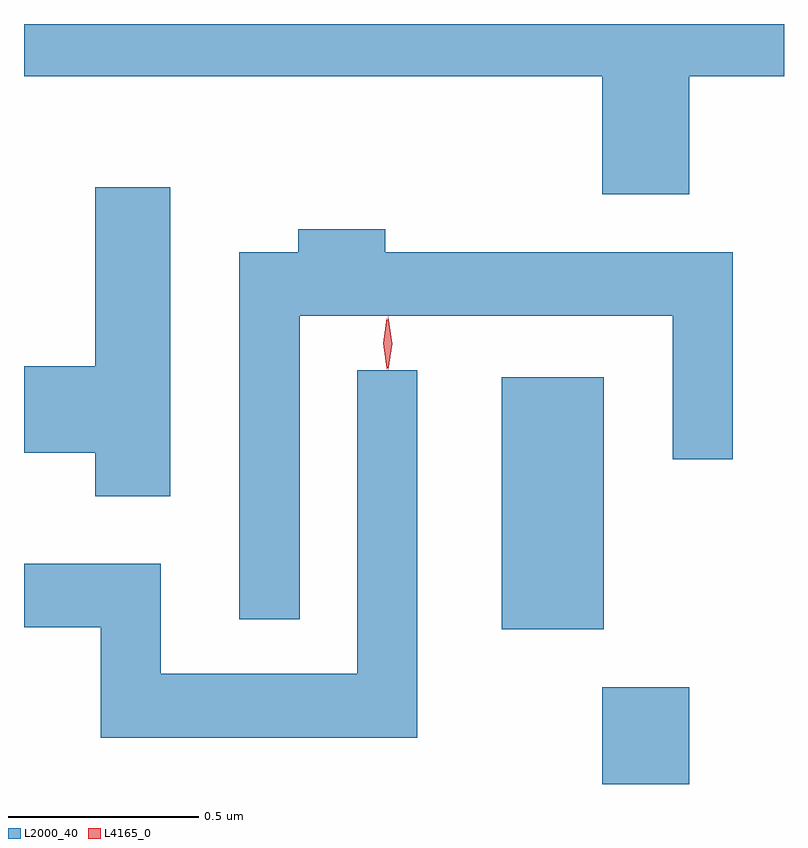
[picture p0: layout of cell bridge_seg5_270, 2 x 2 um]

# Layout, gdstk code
import gdstk
lib = gdstk.Library(unit=1e-6, precision=1e-09)
def R(c, l, rs):  # rectangles x0, y0, x1, y1
    for r in rs: c.add(gdstk.rectangle(r[:2], r[2:], *l))
def P(c, l, *ps):  # polygons
    for p in ps: c.add(gdstk.Polygon(p, *l))
L2000_40 = (2000, 40)
L4165_0 = (4165, 0)

bridge_seg5_270 = lib.new_cell('bridge_seg5_270')
R(bridge_seg5_270, L2000_40, [(1336.251,1430.514,1336.479,1430.769), (1335.986,1430.921,1336.254,1431.584)])
P(bridge_seg5_270, L2000_40, [(1336.479,1432.376),(1336.729,1432.376),(1336.729,1432.514),(1334.729,1432.514),(1334.729,1432.376),(1336.251,1432.376),(1336.251,1432.066),(1336.479,1432.066)],
  [(1335.114,1432.084),(1334.916,1432.084),(1334.916,1431.614),(1334.729,1431.614),(1334.729,1431.386),(1334.916,1431.386),(1334.916,1431.271),(1335.114,1431.271)],
  [(1335.454,1431.746),(1336.436,1431.746),(1336.436,1431.368),(1336.594,1431.368),(1336.594,1431.914),(1335.679,1431.914),(1335.679,1431.974),(1335.451,1431.974),(1335.451,1431.914),(1335.296,1431.914),(1335.296,1430.948),(1335.454,1430.948)],
  [(1335.764,1431.603),(1335.606,1431.603),(1335.606,1430.804),(1335.089,1430.804),(1335.089,1431.094),(1334.729,1431.094),(1334.729,1430.926),(1334.931,1430.926),(1334.931,1430.636),(1335.764,1430.636)])
P(bridge_seg5_270, L4165_0, [(1335.684,1431.607),(1335.684,1431.608),(1335.674,1431.674),(1335.684,1431.74),(1335.684,1431.74),(1335.684,1431.74),(1335.694,1431.674),(1335.685,1431.608)],
  [(1335.688,1431.603),(1335.687,1431.604),(1335.678,1431.673),(1335.687,1431.742),(1335.688,1431.743),(1335.688,1431.742),(1335.698,1431.673),(1335.688,1431.604)])

lib.write_gds('bridge_seg5_270.gds')
